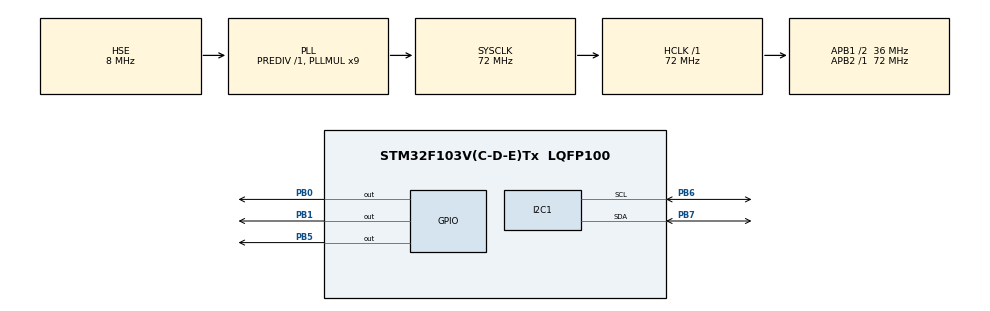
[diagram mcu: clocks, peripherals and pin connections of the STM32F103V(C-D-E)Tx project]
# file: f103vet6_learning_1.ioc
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FREERTOS.Tasks01=defaultTask,24,128,StartDefaultTask,Default,NULL,Dynamic,NULL,NULL
Mcu.Family=STM32F1
Mcu.Name=STM32F103V(C-D-E)Tx
Mcu.Package=LQFP100
NVIC.PriorityGroup=NVIC_PRIORITYGROUP_4
NVIC.TIM4_IRQn=true\:15\:0\:false\:false\:true\:false\:false\:true\:true
NVIC.TimeBase=TIM4_IRQn
NVIC.TimeBaseIP=TIM4
OSC_IN.Mode=HSE-External-Oscillator
OSC_IN.Signal=RCC_OSC_IN
OSC_OUT.Mode=HSE-External-Oscillator
OSC_OUT.Signal=RCC_OSC_OUT
PA13.Mode=Serial_Wire
PA13.Signal=SYS_JTMS-SWDIO
PA14.Mode=Serial_Wire
PA14.Signal=SYS_JTCK-SWCLK
PB0.GPIO_Speed=GPIO_SPEED_FREQ_HIGH
PB0.PinState=GPIO_PIN_SET
PB0.Signal=GPIO_Output
PB1.GPIO_Speed=GPIO_SPEED_FREQ_HIGH
PB1.PinState=GPIO_PIN_SET
PB1.Signal=GPIO_Output
PB5.GPIO_Speed=GPIO_SPEED_FREQ_HIGH
PB5.PinState=GPIO_PIN_SET
PB5.Signal=GPIO_Output
PB6.Mode=I2C
PB6.Signal=I2C1_SCL
PB7.Mode=I2C
PB7.Signal=I2C1_SDA
PC14-OSC32_IN.Mode=LSE-External-Oscillator
PC14-OSC32_IN.Signal=RCC_OSC32_IN
PC15-OSC32_OUT.Mode=LSE-External-Oscillator
PC15-OSC32_OUT.Signal=RCC_OSC32_OUT
ProjectManager.HeapSize=0x200
ProjectManager.StackSize=0x400
ProjectManager.TargetToolchain=CMake
RCC.AHBFreq_Value=72000000
RCC.APB1CLKDivider=RCC_HCLK_DIV2
RCC.APB1Freq_Value=36000000
RCC.APB1TimFreq_Value=72000000
RCC.APB2Freq_Value=72000000
RCC.APB2TimFreq_Value=72000000
RCC.HCLKFreq_Value=72000000
RCC.PLLMUL=RCC_PLL_MUL9
RCC.PLLSourceVirtual=RCC_PLLSOURCE_HSE
RCC.SYSCLKFreq_VALUE=72000000
RCC.SYSCLKSource=RCC_SYSCLKSOURCE_PLLCLK
RCC.USBFreq_Value=72000000
VP_FREERTOS_VS_CMSIS_V2.Mode=CMSIS_V2
VP_SYS_VS_tim4.Mode=TIM4
board=custom

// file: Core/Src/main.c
/* USER CODE BEGIN Header */
/**
  ******************************************************************************
  * @file           : main.c
  * @brief          : Main program body
  ******************************************************************************
  * @attention
  *
  * Copyright (c) 2024 STMicroelectronics.
  * All rights reserved.
  *
  * This software is licensed under terms that can be found in the LICENSE file
  * in the root directory of this software component.
  * If no LICENSE file comes with this software, it is provided AS-IS.
  *
  ******************************************************************************
  */
/* USER CODE END Header */
#include "main.h"
#include "cmsis_os.h"
#include "i2c.h"
#include "gpio.h"

/* USER CODE BEGIN Includes */
#include "driver_led.h"
/* USER CODE END Includes */

void SystemClock_Config(void);
void MX_FREERTOS_Init(void);

int main(void)
{

  /* MCU Configuration--------------------------------------------------------*/

  /* Reset of all peripherals, Initializes the Flash interface and the Systick. */
  HAL_Init();

  /* Configure the system clock */
  SystemClock_Config();

  /* Initialize all configured peripherals */
  MX_GPIO_Init();
  MX_I2C1_Init();

  /* Init scheduler */
  osKernelInitialize();

  /* Call init function for freertos objects (in cmsis_os2.c) */
  MX_FREERTOS_Init();

  /* Start scheduler */
  osKernelStart();

  /* We should never get here as control is now taken by the scheduler */

  /* Infinite loop */
  while (1)
  {

  }
}

void SystemClock_Config(void)
{
  RCC_OscInitTypeDef RCC_OscInitStruct = {0};
  RCC_ClkInitTypeDef RCC_ClkInitStruct = {0};

  /** Initializes the RCC Oscillators according to the specified parameters
  * in the RCC_OscInitTypeDef structure.
  */
  RCC_OscInitStruct.OscillatorType = RCC_OSCILLATORTYPE_HSE;
  RCC_OscInitStruct.HSEState = RCC_HSE_ON;
  RCC_OscInitStruct.HSEPredivValue = RCC_HSE_PREDIV_DIV1;
  RCC_OscInitStruct.HSIState = RCC_HSI_ON;
  RCC_OscInitStruct.PLL.PLLState = RCC_PLL_ON;
  RCC_OscInitStruct.PLL.PLLSource = RCC_PLLSOURCE_HSE;
  RCC_OscInitStruct.PLL.PLLMUL = RCC_PLL_MUL9;
  if (HAL_RCC_OscConfig(&RCC_OscInitStruct) != HAL_OK)
  {
    Error_Handler();
  }

  /** Initializes the CPU, AHB and APB buses clocks
  */
  RCC_ClkInitStruct.ClockType = RCC_CLOCKTYPE_HCLK|RCC_CLOCKTYPE_SYSCLK
                              |RCC_CLOCKTYPE_PCLK1|RCC_CLOCKTYPE_PCLK2;
  RCC_ClkInitStruct.SYSCLKSource = RCC_SYSCLKSOURCE_PLLCLK;
  RCC_ClkInitStruct.AHBCLKDivider = RCC_SYSCLK_DIV1;
  RCC_ClkInitStruct.APB1CLKDivider = RCC_HCLK_DIV2;
  RCC_ClkInitStruct.APB2CLKDivider = RCC_HCLK_DIV1;

  if (HAL_RCC_ClockConfig(&RCC_ClkInitStruct, FLASH_LATENCY_2) != HAL_OK)
  {
    Error_Handler();
  }
}

void HAL_TIM_PeriodElapsedCallback(TIM_HandleTypeDef *htim)
{
  if (htim->Instance == TIM4) {
    HAL_IncTick();
  }
}

void Error_Handler(void)
{
  __disable_irq();
  while (1)
  {
  }
}

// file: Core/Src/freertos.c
/* USER CODE BEGIN Header */
/**
  ******************************************************************************
  * File Name          : freertos.c
  * Description        : Code for freertos applications
  ******************************************************************************
  * @attention
  *
  * Copyright (c) 2024 STMicroelectronics.
  * All rights reserved.
  *
  * This software is licensed under terms that can be found in the LICENSE file
  * in the root directory of this software component.
  * If no LICENSE file comes with this software, it is provided AS-IS.
  *
  ******************************************************************************
  */
/* USER CODE END Header */

#include "FreeRTOS.h"
#include "task.h"
#include "main.h"
#include "cmsis_os.h"
#include "../../Drivers/CMSIS/RTOS2/Include/cmsis_os2.h"

/* USER CODE BEGIN Includes */
#include "driver_led.h"
#include "bsp.h"
// #include "driver_oled.h"
/* USER CODE END Includes */

/* Definitions for defaultTask */
osThreadId_t defaultTaskHandle;
const osThreadAttr_t defaultTask_attributes = {
  .name = "defaultTask",
  .stack_size = 128 * 4,
  .priority = (osPriority_t) osPriorityNormal,
};

/* USER CODE BEGIN FunctionPrototypes */
void myTask(void *argument)
{
  while(1)
  {
     /* USER CODE BEGIN 2 */
 OLED_Init();                           //OLED初始
 OLED_Clear();                         //清屏
//上面的初始化以及清屏的代码在一开始处一定要写
 OLED_ShowString(0,0,"UNICORN_LI",16, 1);    //反相显示8X16字符串
 OLED_ShowString(0,2,"unicorn_li_123",12,0);//正相显示6X8字符串

 OLED_ShowCHinese(0,4,0,1); //反相显示汉字“独”
 OLED_ShowCHinese(16,4,1,1);//反相显示汉字“角”
 OLED_ShowCHinese(32,4,2,1);//反相显示汉字“兽”
 OLED_ShowCHinese(0,6,0,0); //正相显示汉字“独”
 OLED_ShowCHinese(16,6,1,0);//正相显示汉字“角”
 OLED_ShowCHinese(32,6,2,0);//正相显示汉字“兽”

 OLED_ShowNum(48,4,6,1,16, 0);//正相显示1位8X16数字“6”
 OLED_ShowNum(48,7,77,2,12, 1);//反相显示2位6X8数字“77”
 OLED_DrawBMP(90,0,122, 4,BMP1,0);//正相显示图片BMP1
 OLED_DrawBMP(90,4,122, 8,BMP1,1);//反相显示图片BMP1

 OLED_HorizontalShift(0x26);//全屏水平向右滚动播放

//显示正负浮点数的代码
//  float num1=-231.24;
//  float num2=23.375;

//OLED_ShowString(0,0,"Show Decimal",12,0);
//OLED_Showdecimal(0,4,num1,3,2,12, 0);
//OLED_Showdecimal(0,6,num2,2,3,16, 1);

  /* USER CODE END 2 */

  }
}
/* USER CODE END FunctionPrototypes */

void StartDefaultTask(void *argument);

void MX_FREERTOS_Init(void); /* (MISRA C 2004 rule 8.1) */

void MX_FREERTOS_Init(void) {

  /* Create the thread(s) */
  /* creation of defaultTask */
  defaultTaskHandle = osThreadNew(StartDefaultTask, NULL, &defaultTask_attributes);

  /* USER CODE BEGIN RTOS_THREADS */
  /* add threads, ... */
  xTaskCreate(myTask,"myFirstTask",128,NULL,osPriorityNormal,NULL);
  /* USER CODE END RTOS_THREADS */

}

void StartDefaultTask(void *argument)
{
  /* USER CODE BEGIN StartDefaultTask */
  /* Infinite loop */
  for(;;)
  {
    LED_Test();
    osDelay(1);
  }
  /* USER CODE END StartDefaultTask */
}
